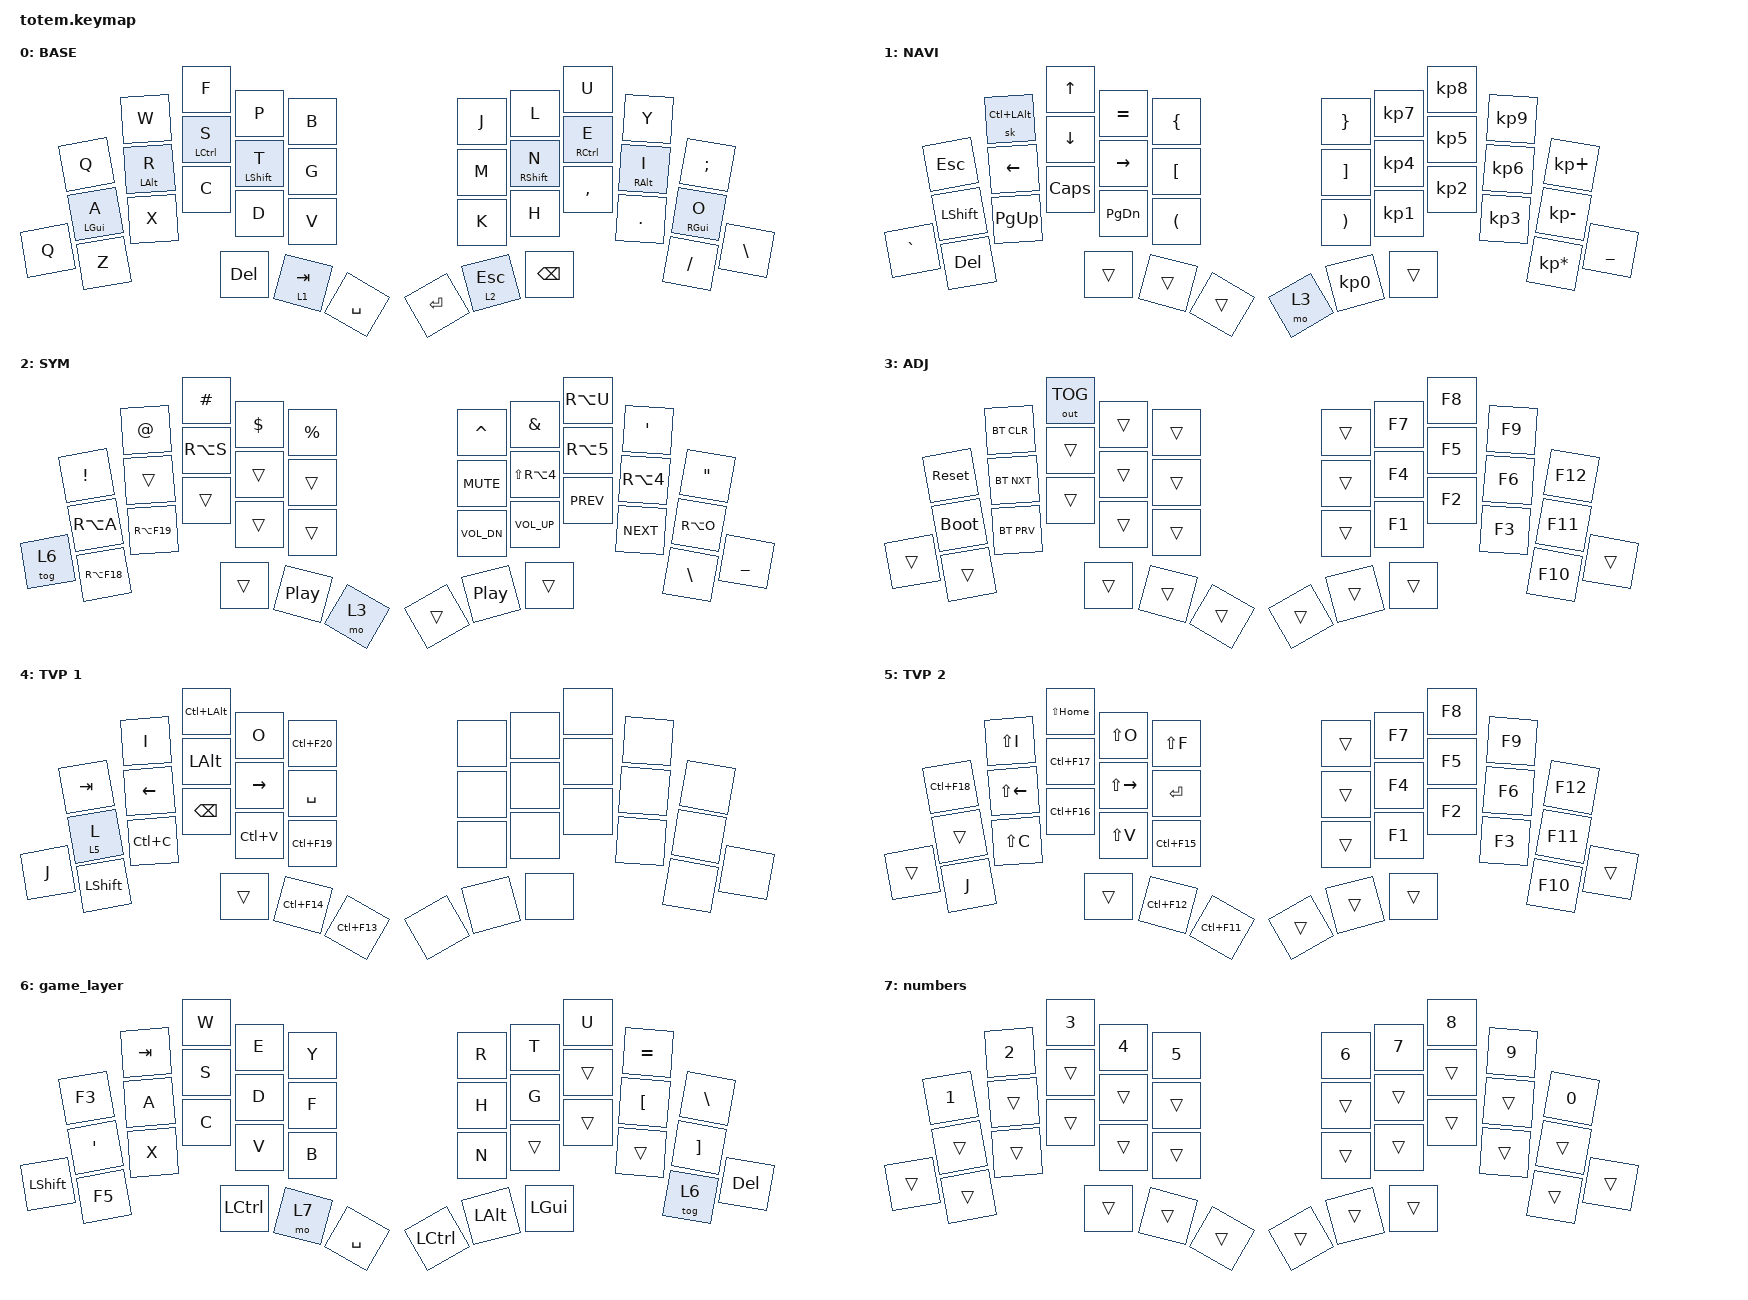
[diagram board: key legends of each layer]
//
//                                                        ▀▀▀▀▀     ▀▀▀▀▀          ▀▀█▀▀
//                                                        ▄▀▀▀▄  ▄  ▄▀▀▀▄  ▄  ▄▀▀▀▄  █  ▄▀▀▀▄
//                                                        █   █  █  █   █  █  █   █  █  █   █
//                                                         ▀▀▀   █   ▀▀▀   █   ▀▀▀   ▀   ▀▀▀
//                                                               █      ▄▄▄█▄▄▄    █   █  
//                                                               ▀      █  █  █     █▄█
//                                                             ▀▀▀▀▀    █  █  █      ▀
//                                                                      ▀  ▀  ▀
//
// ▄▄▄▄▄▄▄▄▄▄▄▄▄▄▄▄▄▄▄▄▄▄▄▄▄▄▄▄▄▄▄▄▄▄▄▄▄▄▄▄▄▄▄▄▄▄▄▄▄▄▄▄▄▄▄▄▄▄▄▄▄▄▄▄▄▄▄▄▄▄▄▄▄▄▄▄▄▄▄▄▄▄▄▄▄▄▄▄▄▄▄▄▄▄▄▄▄▄▄▄▄▄▄▄▄▄▄▄▄▄▄▄▄▄▄▄▄▄▄▄▄▄▄▄▄▄▄▄▄▄▄▄▄▄▄▄▄▄▄▄▄▄▄▄▄▄▄▄▄

#include <behaviors.dtsi>
#include <dt-bindings/zmk/bt.h>
#include <dt-bindings/zmk/keys.h>
#include <dt-bindings/zmk/outputs.h>

#define BASE 0
#define NAV  1
#define SYM  2
#define ADJ  3
#define TVP1 4
#define TVP2 5

&mt {
    quick-tap-ms = <100>;
    global-quick-tap;
    flavor = "tap-preferred";
    tapping-term-ms = <170>;
};

/ {
    combos {
        compatible = "zmk,combos";

        combo_esc {
            timeout-ms = <50>;
            key-positions = <0 1>;
            bindings = <&kp ESC>;
        };

        combo_tvp {
            timeout-ms = <100>;
            key-positions = <11 12 13>;
            bindings = <&tog 4>;
        };
    };

    keymap {
        compatible = "zmk,keymap";

        // ▄▄▄▄▄▄▄▄▄▄▄▄▄▄▄▄▄▄▄▄▄▄▄▄▄▄▄▄▄▄▄▄▄▄▄▄▄▄▄▄▄▄▄▄▄▄▄▄▄▄▄▄▄▄▄▄▄▄▄▄▄▄▄▄▄▄▄▄▄▄▄▄▄▄▄▄▄▄▄▄▄▄▄▄▄▄▄▄▄▄▄▄▄▄▄▄▄▄▄▄▄▄▄▄▄▄▄▄▄▄▄▄▄▄▄▄▄▄▄▄▄▄▄▄▄▄▄▄▄▄▄▄▄▄▄▄▄▄▄▄▄▄▄▄▄▄▄▄▄

        base_layer {
            // ┏━━━━━━━━━━━━━━━━━━━━━━━━━━━━━━━━━━━━━━━┓

            label = "BASE";

            // ┗━━━━━━━━━━━━━━━━━━━━━━━━━━━━━━━━━━━━━━━┛
            //             ┏━━━━━━━━━━━┳━━━━━━━━━━━┳━━━━━━━━━━━┳━━━━━━━━━━━┳━━━━━━━━━━━┓   ┏━━━━━━━━━━━┳━━━━━━━━━━━┳━━━━━━━━━━━┳━━━━━━━━━━━┳━━━━━━━━━━━┓
            //             ┃     Q     ┃     W     ┃     F     ┃     P     ┃     G     ┃   ┃     J     ┃     L     ┃     U     ┃     Y     ┃     ;     ┃
            //             ┣━━━━━━━━━━━╋━━━━━━━━━━━╋━━━━━━━━━━━╋━━━━━━━━━━━╋━━━━━━━━━━━┫   ┣━━━━━━━━━━━╋━━━━━━━━━━━╋━━━━━━━━━━━╋━━━━━━━━━━━╋━━━━━━━━━━━┫
            //             ┃     A     ┃     R     ┃     S     ┃     T     ┃     D     ┃   ┃     H     ┃     N     ┃     E     ┃     I     ┃     O     ┃
            // ┏━━━━━━━━━━━╋━━━━━━━━━━━╋━━━━━━━━━━━╋━━━━━━━━━━━╋━━━━━━━━━━━╋━━━━━━━━━━━┫   ┣━━━━━━━━━━━╋━━━━━━━━━━━╋━━━━━━━━━━━╋━━━━━━━━━━━╋━━━━━━━━━━━╋━━━━━━━━━━━┓
            // ┃     Q     ┃     Z     ┃     X     ┃     C     ┃     V     ┃     B     ┃   ┃     K     ┃     M     ┃     ,     ┃     .     ┃     /     ┃     \     ┃
            // ┗━━━━━━━━━━━┻━━━━━━━━━━━┻━━━━━━━━━━━╋━━━━━━━━━━━╋━━━━━━━━━━━╋━━━━━━━━━━━┫   ┣━━━━━━━━━━━╋━━━━━━━━━━━╋━━━━━━━━━━━╋━━━━━━━━━━━┻━━━━━━━━━━━┻━━━━━━━━━━━┛
            //                                     ┃    DEL    ┃    TAB    ┃    SPC    ┃   ┃   ENTER   ┃           ┃   BSPC    ┃
            //                                     ┗━━━━━━━━━━━┻━━━━━━━━━━━┻━━━━━━━━━━━┛   ┗━━━━━━━━━━━┻━━━━━━━━━━━┻━━━━━━━━━━━┛

            bindings = <
       &kp Q       &kp W       &kp F        &kp P        &kp B        &kp J    &kp L        &kp U        &kp Y       &kp SEMI
       &mt LGUI A  &mt LALT R  &mt LCTRL S  &mt LSHFT T  &kp G        &kp M    &mt RSHFT N  &mt RCTRL E  &mt RALT I  &mt RGUI O
&kp Q  &kp Z       &kp X       &kp C        &kp D        &kp V        &kp K    &kp H        &kp COMMA    &kp DOT     &kp FSLH    &kp BSLH
                               &kp DEL      &lt 1 TAB    &kp SPACE    &kp RET  &lt 2 ESC    &kp BSPC
            >;
        };

        // ▄▄▄▄▄▄▄▄▄▄▄▄▄▄▄▄▄▄▄▄▄▄▄▄▄▄▄▄▄▄▄▄▄▄▄▄▄▄▄▄▄▄▄▄▄▄▄▄▄▄▄▄▄▄▄▄▄▄▄▄▄▄▄▄▄▄▄▄▄▄▄▄▄▄▄▄▄▄▄▄▄▄▄▄▄▄▄▄▄▄▄▄▄▄▄▄▄▄▄▄▄▄▄▄▄▄▄▄▄▄▄▄▄▄▄▄▄▄▄▄▄▄▄▄▄▄▄▄▄▄▄▄▄▄▄▄▄▄▄▄▄▄▄▄▄▄▄▄▄

        nav_layer {
            // ┏━━━━━━━━━━━━━━━━━━━━━━━━━━━━━━━━━━━━━━━┓

            label = "NAVI";

            // ┗━━━━━━━━━━━━━━━━━━━━━━━━━━━━━━━━━━━━━━━┛
            //             ┏━━━━━━━━━━━┳━━━━━━━━━━━┳━━━━━━━━━━━┳━━━━━━━━━━━┳━━━━━━━━━━━┓   ┏━━━━━━━━━━━┳━━━━━━━━━━━┳━━━━━━━━━━━┳━━━━━━━━━━━┳━━━━━━━━━━━┓
            //             ┃           ┃           ┃     UP    ┃           ┃     {     ┃   ┃     }     ┃     7     ┃     8     ┃     9     ┃     +     ┃
            //             ┣━━━━━━━━━━━╋━━━━━━━━━━━╋━━━━━━━━━━━╋━━━━━━━━━━━╋━━━━━━━━━━━┫   ┣━━━━━━━━━━━╋━━━━━━━━━━━╋━━━━━━━━━━━╋━━━━━━━━━━━╋━━━━━━━━━━━┫
            //             ┃   SHIFT   ┃   LEFT    ┃    DOWN   ┃   RIGHT   ┃     [     ┃   ┃     ]     ┃     4     ┃     5     ┃     6     ┃     -     ┃
            // ┏━━━━━━━━━━━╋━━━━━━━━━━━╋━━━━━━━━━━━╋━━━━━━━━━━━╋━━━━━━━━━━━╋━━━━━━━━━━━┫   ┣━━━━━━━━━━━╋━━━━━━━━━━━╋━━━━━━━━━━━╋━━━━━━━━━━━╋━━━━━━━━━━━╋━━━━━━━━━━━┓
            // ┃           ┃           ┃   P UP    ┃  C LOCK   ┃  P DOWN   ┃     (     ┃   ┃     )     ┃     1     ┃     2     ┃     3     ┃     *     ┃           ┃
            // ┗━━━━━━━━━━━┻━━━━━━━━━━━┻━━━━━━━━━━━╋━━━━━━━━━━━╋━━━━━━━━━━━╋━━━━━━━━━━━┫   ┣━━━━━━━━━━━╋━━━━━━━━━━━╋━━━━━━━━━━━╋━━━━━━━━━━━┻━━━━━━━━━━━┻━━━━━━━━━━━┛
            //                                     ┃           ┃    TAB    ┃    SPC    ┃   ┃    DEL    ┃     0     ┃           ┃
            //                                     ┗━━━━━━━━━━━┻━━━━━━━━━━━┻━━━━━━━━━━━┛   ┗━━━━━━━━━━━┻━━━━━━━━━━━┻━━━━━━━━━━━┛

            bindings = <
           &kp ESC    &sk LC(LALT)  &kp UP    &kp EQUAL  &kp LBRC    &kp RBRC  &kp KP_N7  &kp KP_N8  &kp KP_N9  &kp KP_PLUS
           &kp LSHFT  &kp LEFT      &kp DOWN  &kp RIGHT  &kp LBKT    &kp RBKT  &kp KP_N4  &kp KP_N5  &kp KP_N6  &kp KP_MINUS
&kp GRAVE  &kp DEL    &kp PG_UP     &kp CAPS  &kp PG_DN  &kp LPAR    &kp RPAR  &kp KP_N1  &kp KP_N2  &kp KP_N3  &kp KP_MULTIPLY  &kp UNDERSCORE
                                    &trans    &trans     &trans      &mo 3     &kp KP_N0  &trans
            >;
        };

        // ▄▄▄▄▄▄▄▄▄▄▄▄▄▄▄▄▄▄▄▄▄▄▄▄▄▄▄▄▄▄▄▄▄▄▄▄▄▄▄▄▄▄▄▄▄▄▄▄▄▄▄▄▄▄▄▄▄▄▄▄▄▄▄▄▄▄▄▄▄▄▄▄▄▄▄▄▄▄▄▄▄▄▄▄▄▄▄▄▄▄▄▄▄▄▄▄▄▄▄▄▄▄▄▄▄▄▄▄▄▄▄▄▄▄▄▄▄▄▄▄▄▄▄▄▄▄▄▄▄▄▄▄▄▄▄▄▄▄▄▄▄▄▄▄▄▄▄▄▄

        sim_layer {
            // ┏━━━━━━━━━━━━━━━━━━━━━━━━━━━━━━━━━━━━━━━┓

            label = "SYM";

            // ┗━━━━━━━━━━━━━━━━━━━━━━━━━━━━━━━━━━━━━━━┛
            //             ┏━━━━━━━━━━━┳━━━━━━━━━━━┳━━━━━━━━━━━┳━━━━━━━━━━━┳━━━━━━━━━━━┓   ┏━━━━━━━━━━━┳━━━━━━━━━━━┳━━━━━━━━━━━┳━━━━━━━━━━━┳━━━━━━━━━━━┓
            //             ┃     !     ┃     @     ┃     #     ┃     $     ┃     %     ┃   ┃     ˆ     ┃     &     ┃     Ü     ┃     '     ┃     "     ┃
            //             ┣━━━━━━━━━━━╋━━━━━━━━━━━╋━━━━━━━━━━━╋━━━━━━━━━━━╋━━━━━━━━━━━┫   ┣━━━━━━━━━━━╋━━━━━━━━━━━╋━━━━━━━━━━━╋━━━━━━━━━━━╋━━━━━━━━━━━┫
            //             ┃     Ä     ┃           ┃    SZ     ┃           ┃           ┃   ┃   MUTE    ┃   YEN     ┃   EURO    ┃  POUND    ┃     Ö     ┃
            // ┏━━━━━━━━━━━╋━━━━━━━━━━━╋━━━━━━━━━━━╋━━━━━━━━━━━╋━━━━━━━━━━━╋━━━━━━━━━━━┫   ┣━━━━━━━━━━━╋━━━━━━━━━━━╋━━━━━━━━━━━╋━━━━━━━━━━━╋━━━━━━━━━━━╋━━━━━━━━━━━┓
            // ┃           ┃  EMAIL1   ┃  EMAIL2   ┃           ┃           ┃           ┃   ┃   VOL-    ┃   VOL+    ┃   LAST    ┃   NEXT    ┃     \     ┃           ┃
            // ┗━━━━━━━━━━━┻━━━━━━━━━━━┻━━━━━━━━━━━╋━━━━━━━━━━━╋━━━━━━━━━━━╋━━━━━━━━━━━┫   ┣━━━━━━━━━━━╋━━━━━━━━━━━╋━━━━━━━━━━━╋━━━━━━━━━━━┻━━━━━━━━━━━┻━━━━━━━━━━━┛
            //                                     ┃           ┃    GIF    ┃    ADJ    ┃   ┃           ┃           ┃           ┃
            //                                     ┗━━━━━━━━━━━┻━━━━━━━━━━━┻━━━━━━━━━━━┛   ┗━━━━━━━━━━━┻━━━━━━━━━━━┻━━━━━━━━━━━┛

            bindings = <
        &kp EXCL     &kp AT       &kp HASH   &kp DLLR  &kp PRCNT    &kp CARET     &kp AMPS        &kp RA(U)   &kp SQT     &kp DQT
        &kp RA(A)    &trans       &kp RA(S)  &trans    &trans       &kp C_MUTE    &kp LS(RA(N4))  &kp RA(N5)  &kp RA(N4)  &kp RA(O)
&tog 6  &kp RA(F18)  &kp RA(F19)  &trans     &trans    &trans       &kp C_VOL_DN  &kp C_VOL_UP    &kp C_PREV  &kp C_NEXT  &kp BSLH   &kp UNDERSCORE
                                  &trans     &kp C_PP  &mo 3        &trans        &kp C_PP        &trans
            >;
        };

        // ▄▄▄▄▄▄▄▄▄▄▄▄▄▄▄▄▄▄▄▄▄▄▄▄▄▄▄▄▄▄▄▄▄▄▄▄▄▄▄▄▄▄▄▄▄▄▄▄▄▄▄▄▄▄▄▄▄▄▄▄▄▄▄▄▄▄▄▄▄▄▄▄▄▄▄▄▄▄▄▄▄▄▄▄▄▄▄▄▄▄▄▄▄▄▄▄▄▄▄▄▄▄▄▄▄▄▄▄▄▄▄▄▄▄▄▄▄▄▄▄▄▄▄▄▄▄▄▄▄▄▄▄▄▄▄▄▄▄▄▄▄▄▄▄▄▄▄▄▄

        adjust_layer {
            // ┏━━━━━━━━━━━━━━━━━━━━━━━━━━━━━━━━━━━━━━━┓

            label = "ADJ";

            // ┗━━━━━━━━━━━━━━━━━━━━━━━━━━━━━━━━━━━━━━━┛
            //             ┏━━━━━━━━━━━┳━━━━━━━━━━━┳━━━━━━━━━━━┳━━━━━━━━━━━┳━━━━━━━━━━━┓   ┏━━━━━━━━━━━┳━━━━━━━━━━━┳━━━━━━━━━━━┳━━━━━━━━━━━┳━━━━━━━━━━━┓
            //             ┃   RESET   ┃ BT CLEAR  ┃  OUT TOG  ┃           ┃           ┃   ┃           ┃    F7     ┃    F8     ┃    F9     ┃    F12    ┃
            //             ┣━━━━━━━━━━━╋━━━━━━━━━━━╋━━━━━━━━━━━╋━━━━━━━━━━━╋━━━━━━━━━━━┫   ┣━━━━━━━━━━━╋━━━━━━━━━━━╋━━━━━━━━━━━╋━━━━━━━━━━━╋━━━━━━━━━━━┫
            //             ┃ BOOTLOAD  ┃ BT NEXT   ┃           ┃           ┃           ┃   ┃           ┃    F4     ┃    F5     ┃    F6     ┃    F11    ┃
            // ┏━━━━━━━━━━━╋━━━━━━━━━━━╋━━━━━━━━━━━╋━━━━━━━━━━━╋━━━━━━━━━━━╋━━━━━━━━━━━┫   ┣━━━━━━━━━━━╋━━━━━━━━━━━╋━━━━━━━━━━━╋━━━━━━━━━━━╋━━━━━━━━━━━╋━━━━━━━━━━━┓
            // ┃           ┃           ┃ BT PREV   ┃           ┃           ┃           ┃   ┃           ┃    F1     ┃    F2     ┃    F3     ┃    F10    ┃           ┃
            // ┗━━━━━━━━━━━┻━━━━━━━━━━━┻━━━━━━━━━━━╋━━━━━━━━━━━╋━━━━━━━━━━━╋━━━━━━━━━━━┫   ┣━━━━━━━━━━━╋━━━━━━━━━━━╋━━━━━━━━━━━╋━━━━━━━━━━━┻━━━━━━━━━━━┻━━━━━━━━━━━┛
            //                                     ┃           ┃           ┃           ┃   ┃           ┃           ┃           ┃
            //                                     ┗━━━━━━━━━━━┻━━━━━━━━━━━┻━━━━━━━━━━━┛   ┗━━━━━━━━━━━┻━━━━━━━━━━━┻━━━━━━━━━━━┛

            bindings = <
        &sys_reset   &bt BT_CLR  &out OUT_TOG  &trans  &trans    &trans  &kp F7  &kp F8  &kp F9  &kp F12
        &bootloader  &bt BT_NXT  &trans        &trans  &trans    &trans  &kp F4  &kp F5  &kp F6  &kp F11
&trans  &trans       &bt BT_PRV  &trans        &trans  &trans    &trans  &kp F1  &kp F2  &kp F3  &kp F10  &trans
                                 &trans        &trans  &trans    &trans  &trans  &trans
            >;
        };

        // ▄▄▄▄▄▄▄▄▄▄▄▄▄▄▄▄▄▄▄▄▄▄▄▄▄▄▄▄▄▄▄▄▄▄▄▄▄▄▄▄▄▄▄▄▄▄▄▄▄▄▄▄▄▄▄▄▄▄▄▄▄▄▄▄▄▄▄▄▄▄▄▄▄▄▄▄▄▄▄▄▄▄▄▄▄▄▄▄▄▄▄▄▄▄▄▄▄▄▄▄▄▄▄▄▄▄▄▄▄▄▄▄▄▄▄▄▄▄▄▄▄▄▄▄▄▄▄▄▄▄▄▄▄▄▄▄▄▄▄▄▄▄▄▄▄▄▄▄▄

        tvp1_layer {
            // ┏━━━━━━━━━━━━━━━━━━━━━━━━━━━━━━━━━━━━━━━┓

            label = "TVP 1";

            // ┗━━━━━━━━━━━━━━━━━━━━━━━━━━━━━━━━━━━━━━━┛
            //             ┏━━━━━━━━━━━┳━━━━━━━━━━━┳━━━━━━━━━━━┳━━━━━━━━━━━┳━━━━━━━━━━━┓   ┏━━━━━━━━━━━┳━━━━━━━━━━━┳━━━━━━━━━━━┳━━━━━━━━━━━┳━━━━━━━━━━━┓
            //             ┃ NEXT FILE ┃ MARK IN   ┃ ROTATE    ┃ MARK OUT  ┃ SHOW SNAP ┃   ┃           ┃           ┃           ┃           ┃           ┃
            //             ┣━━━━━━━━━━━╋━━━━━━━━━━━╋━━━━━━━━━━━╋━━━━━━━━━━━╋━━━━━━━━━━━┫   ┣━━━━━━━━━━━╋━━━━━━━━━━━╋━━━━━━━━━━━╋━━━━━━━━━━━╋━━━━━━━━━━━┫
            //             ┃ TVP II    ┃ LEFT      ┃ PAN       ┃ RIGHT     ┃ PLAY/FLIP ┃   ┃           ┃           ┃           ┃           ┃           ┃
            // ┏━━━━━━━━━━━╋━━━━━━━━━━━╋━━━━━━━━━━━╋━━━━━━━━━━━╋━━━━━━━━━━━╋━━━━━━━━━━━┫   ┣━━━━━━━━━━━╋━━━━━━━━━━━╋━━━━━━━━━━━╋━━━━━━━━━━━╋━━━━━━━━━━━╋━━━━━━━━━━━┓
            // ┃ FULLSCR   ┃ SHIFT     ┃ COPY      ┃ DELETE    ┃ PASTE     ┃ IMG MARK  ┃   ┃           ┃           ┃           ┃           ┃           ┃           ┃
            // ┗━━━━━━━━━━━┻━━━━━━━━━━━┻━━━━━━━━━━━╋━━━━━━━━━━━╋━━━━━━━━━━━╋━━━━━━━━━━━┫   ┣━━━━━━━━━━━╋━━━━━━━━━━━╋━━━━━━━━━━━╋━━━━━━━━━━━┻━━━━━━━━━━━┻━━━━━━━━━━━┛
            //                                     ┃           ┃ UNDO/SAVE ┃  SEL/MOV  ┃   ┃           ┃           ┃           ┃
            //                                     ┗━━━━━━━━━━━┻━━━━━━━━━━━┻━━━━━━━━━━━┛   ┗━━━━━━━━━━━┻━━━━━━━━━━━┻━━━━━━━━━━━┛

            bindings = <
       &kp TAB    &kp I      &kp LC(LALT)  &kp O        &kp LC(F20)    &none  &none  &none  &none  &none
       &lt 5 L    &kp LEFT   &kp LALT      &kp RIGHT    &kp SPACE      &none  &none  &none  &none  &none
&kp J  &kp LSHFT  &kp LC(C)  &kp BSPC      &kp LC(V)    &kp LC(F19)    &none  &none  &none  &none  &none  &none
                             &trans        &kp LC(F14)  &kp LC(F13)    &none  &none  &none
            >;
        };

        // ▄▄▄▄▄▄▄▄▄▄▄▄▄▄▄▄▄▄▄▄▄▄▄▄▄▄▄▄▄▄▄▄▄▄▄▄▄▄▄▄▄▄▄▄▄▄▄▄▄▄▄▄▄▄▄▄▄▄▄▄▄▄▄▄▄▄▄▄▄▄▄▄▄▄▄▄▄▄▄▄▄▄▄▄▄▄▄▄▄▄▄▄▄▄▄▄▄▄▄▄▄▄▄▄▄▄▄▄▄▄▄▄▄▄▄▄▄▄▄▄▄▄▄▄▄▄▄▄▄▄▄▄▄▄▄▄▄▄▄▄▄▄▄▄▄▄▄▄▄

        tvp2_layer {
            // ┏━━━━━━━━━━━━━━━━━━━━━━━━━━━━━━━━━━━━━━━┓

            label = "TVP 2";

            // ┗━━━━━━━━━━━━━━━━━━━━━━━━━━━━━━━━━━━━━━━┛
            //             ┏━━━━━━━━━━━┳━━━━━━━━━━━┳━━━━━━━━━━━┳━━━━━━━━━━━┳━━━━━━━━━━━┓   ┏━━━━━━━━━━━┳━━━━━━━━━━━┳━━━━━━━━━━━┳━━━━━━━━━━━┳━━━━━━━━━━━┓
            //             ┃ SOLO      ┃ TOGGLE IN ┃ RESET ROT ┃ TOGGLE OUT┃ TAKE SNAP ┃   ┃           ┃           ┃           ┃           ┃           ┃
            //             ┣━━━━━━━━━━━╋━━━━━━━━━━━╋━━━━━━━━━━━╋━━━━━━━━━━━╋━━━━━━━━━━━┫   ┣━━━━━━━━━━━╋━━━━━━━━━━━╋━━━━━━━━━━━╋━━━━━━━━━━━╋━━━━━━━━━━━┫
            //             ┃ ---       ┃ LAST KEY  ┃ NEW KEY   ┃ NEXT KEY  ┃ ENTER     ┃   ┃           ┃           ┃           ┃           ┃           ┃
            // ┏━━━━━━━━━━━╋━━━━━━━━━━━╋━━━━━━━━━━━╋━━━━━━━━━━━╋━━━━━━━━━━━╋━━━━━━━━━━━┫   ┣━━━━━━━━━━━╋━━━━━━━━━━━╋━━━━━━━━━━━╋━━━━━━━━━━━╋━━━━━━━━━━━╋━━━━━━━━━━━┓
            // ┃           ┃ FULLSCR   ┃ CPY2BRUSH ┃ DEL HEAD  ┃ PSTinPLACE┃ BOOK MARK ┃   ┃           ┃           ┃           ┃           ┃           ┃           ┃
            // ┗━━━━━━━━━━━┻━━━━━━━━━━━┻━━━━━━━━━━━╋━━━━━━━━━━━╋━━━━━━━━━━━╋━━━━━━━━━━━┫   ┣━━━━━━━━━━━╋━━━━━━━━━━━╋━━━━━━━━━━━╋━━━━━━━━━━━┻━━━━━━━━━━━┻━━━━━━━━━━━┛
            //                                     ┃           ┃ REDO/SAV1 ┃TRANS/WARP ┃   ┃           ┃           ┃           ┃
            //                                     ┗━━━━━━━━━━━┻━━━━━━━━━━━┻━━━━━━━━━━━┛   ┗━━━━━━━━━━━┻━━━━━━━━━━━┻━━━━━━━━━━━┛

            bindings = <
        &kp LC(F18)  &kp LS(I)     &kp LS(HOME)  &kp LS(O)      &kp LS(F)      &trans  &kp F7  &kp F8  &kp F9  &kp F12
        &trans       &kp LS(LEFT)  &kp LC(F17)   &kp LS(RIGHT)  &kp RET        &trans  &kp F4  &kp F5  &kp F6  &kp F11
&trans  &kp J        &kp LS(C)     &kp LC(F16)   &kp LS(V)      &kp LC(F15)    &trans  &kp F1  &kp F2  &kp F3  &kp F10  &trans
                                   &trans        &kp LC(F12)    &kp LC(F11)    &trans  &trans  &trans
            >;
        };

        game_layer {
            bindings = <
           &kp F3    &kp TAB  &kp W      &kp E  &kp Y        &kp R      &kp T     &kp U     &kp EQUAL  &kp BSLH
           &kp APOS  &kp A    &kp S      &kp D  &kp F        &kp H      &kp G     &trans    &kp LBKT   &kp RBKT
&kp LSHFT  &kp F5    &kp X    &kp C      &kp V  &kp B        &kp N      &trans    &trans    &trans     &tog 6    &kp DEL
                              &kp LCTRL  &mo 7  &kp SPACE    &kp LCTRL  &kp LALT  &kp LGUI
            >;
        };

        numbers {
            bindings = <
        &kp N1  &kp N2  &kp N3  &kp N4  &kp N5    &kp N6  &kp N7  &kp N8  &kp N9  &kp N0
        &trans  &trans  &trans  &trans  &trans    &trans  &trans  &trans  &trans  &trans
&trans  &trans  &trans  &trans  &trans  &trans    &trans  &trans  &trans  &trans  &trans  &trans
                        &trans  &trans  &trans    &trans  &trans  &trans
            >;
        };
    };
};
